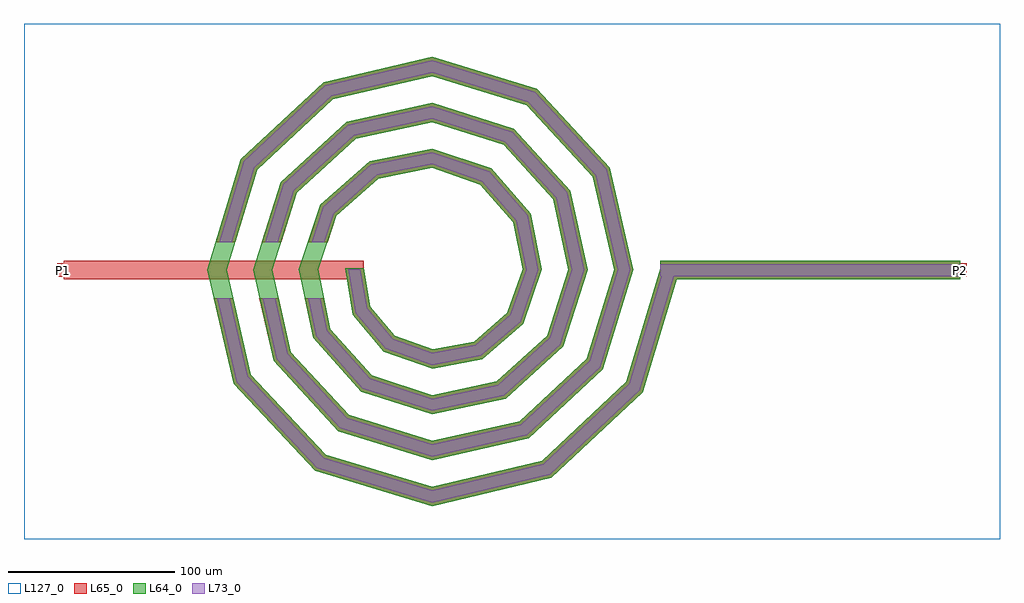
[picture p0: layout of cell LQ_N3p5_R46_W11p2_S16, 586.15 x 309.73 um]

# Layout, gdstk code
import gdstk
lib = gdstk.Library(unit=1e-6, precision=1e-09)
def R(c, l, rs):  # rectangles x0, y0, x1, y1
    for r in rs: c.add(gdstk.rectangle(r[:2], r[2:], *l))
def P(c, l, *ps):  # polygons
    for p in ps: c.add(gdstk.Polygon(p, *l))
L64_0 = (64, 0)
L65_0 = (65, 0)
L73_0 = (73, 0)
L127_0 = (127, 0)

lq_n3p5_r46_w11p2_s16 = lib.new_cell('LQ_N3p5_R46_W11p2_S16')
R(lq_n3p5_r46_w11p2_s16, L64_0, [(137.224,-5.6,317.224,5.6)])
P(lq_n3p5_r46_w11p2_s16, L64_0, [(-37.023,-21.96),(-22.248,-39.503),(0.463,-47.626),(25.343,-43.007),(45.428,-25.735),(54.501,0.411),(48.986,28.739),(29.212,51.359),(0.369,61.376),(-32.143,54.96),(-57.296,32.681),(-68.253,0.335),(-60.932,-35.554),(-36.146,-63.237),(0.306,-75.13),(38.969,-66.901),(69.18,-39.606),(82.007,0.282),(72.868,42.388),(43.064,75.125),(0.262,88.884),(-45.81,78.834),(-81.072,46.518),(-95.762,0.244),(-84.798,-49.234),(-49.971,-87.02),(0.229,-102.64),(52.66,-90.762),(92.969,-53.422),(109.517,0.215),(96.725,56.088),(56.872,98.919),(0.203,116.395),(-59.516,102.687),(-104.87,60.321),(-123.273,0.192),(-108.649,-62.946),(-63.769,-110.821),(0.182,-130.151),(66.377,-114.61),(116.773,-67.215),(137.461,1.612),(148.187,-1.612),(126.635,-73.316),(71.862,-124.827),(0.182,-141.741),(-69.885,-120.673),(-118.875,-68.414),(-134.863,0.192),(-114.711,66.454),(-64.966,112.923),(0.203,127.984),(63.025,108.748),(106.972,61.517),(121.106,0.215),(102.785,-59.596),(58.066,-101.021),(0.229,-114.227),(-56.169,-96.821),(-95.071,-54.614),(-107.348,0.244),(-90.856,52.744),(-51.16,89.122),(0.262,100.469),(49.32,84.889),(83.175,47.703),(93.59,0.282),(78.921,-45.9),(44.244,-77.229),(0.306,-86.711),(-42.482,-72.95),(-71.284,-40.781),(-79.831,0.335),(-66.977,39.068),(-37.314,65.342),(0.369,72.951),(35.66,61.001),(59.403,33.839),(66.071,0.411),(55.019,-32.258),(30.357,-53.468),(0.463,-59.189),(-28.867,-49.03),(-47.539,-26.862),(-52.046,0.96),(-41.012,0.96)])
R(lq_n3p5_r46_w11p2_s16, L65_0, [(-220.929,-5.6,-40.929,5.6), (137.224,-5.6,317.224,5.6), (-224.929,-4,-216.929,4), (313.224,-4,321.224,4)])
P(lq_n3p5_r46_w11p2_s16, L65_0, [(-108.649,-62.946),(-63.769,-110.821),(0.182,-130.151),(66.377,-114.61),(116.773,-67.215),(137.461,1.612),(148.187,-1.612),(126.635,-73.316),(71.862,-124.827),(0.182,-141.741),(-69.885,-120.673),(-118.875,-68.414),(-130.903,-16.8),(-119.403,-16.8)],
  [(-84.798,-49.234),(-49.971,-87.02),(0.229,-102.64),(52.66,-90.762),(92.969,-53.422),(109.517,0.215),(96.725,56.088),(56.872,98.919),(0.203,116.395),(-59.516,102.687),(-104.87,60.321),(-118.105,16.8),(-129.812,16.8),(-114.711,66.454),(-64.966,112.923),(0.203,127.984),(63.025,108.749),(106.972,61.517),(121.106,0.215),(102.785,-59.596),(58.066,-101.021),(0.229,-114.227),(-56.169,-96.821),(-95.071,-54.614),(-103.534,-16.8),(-92.057,-16.8)],
  [(-60.932,-35.554),(-36.146,-63.237),(0.306,-75.13),(38.969,-66.901),(69.18,-39.606),(82.007,0.282),(72.868,42.388),(43.064,75.125),(0.262,88.884),(-45.81,78.834),(-81.072,46.518),(-90.408,16.8),(-102.147,16.8),(-90.856,52.744),(-51.16,89.123),(0.262,100.469),(49.321,84.889),(83.175,47.703),(93.59,0.282),(78.921,-45.9),(44.244,-77.229),(0.306,-86.711),(-42.482,-72.95),(-71.284,-40.781),(-76.269,-16.8),(-64.83,-16.8)],
  [(-22.248,-39.503),(0.463,-47.626),(25.343,-43.007),(45.428,-25.735),(54.501,0.411),(48.986,28.739),(29.212,51.359),(0.369,61.376),(-32.143,54.96),(-57.296,32.681),(-62.567,16.8),(-74.367,16.8),(-66.977,39.068),(-37.314,65.342),(0.369,72.951),(35.66,61.001),(59.403,33.84),(66.071,0.411),(55.019,-32.258),(30.357,-53.468),(0.463,-59.189),(-28.867,-49.03),(-47.539,-26.862),(-52.046,0.96),(-41.012,0.96),(-37.023,-21.961)])
R(lq_n3p5_r46_w11p2_s16, L73_0, [(137.224,-3.6,317.224,3.6)])
P(lq_n3p5_r46_w11p2_s16, L73_0, [(-110.475,-63.923),(-64.861,-112.581),(0.117,-132.221),(67.357,-116.434),(118.534,-68.305),(139.377,1.036),(146.272,-1.036),(124.874,-72.227),(70.882,-123.002),(0.117,-139.672),(-68.793,-118.914),(-117.049,-67.438),(-128.849,-16.8),(-121.456,-16.8)],
  [(-86.633,-50.195),(-51.078,-88.77),(0.147,-104.709),(53.625,-92.594),(94.722,-54.525),(111.587,0.138),(98.555,57.057),(57.971,100.674),(0.13,118.465),(-60.49,104.515),(-106.627,61.416),(-120.196,16.8),(-127.722,16.8),(-112.954,65.359),(-63.993,111.095),(0.13,125.915),(61.926,106.993),(105.142,60.547),(119.036,0.138),(101.032,-58.494),(57.101,-99.189),(0.147,-112.158),(-55.063,-95.071),(-93.237,-53.653),(-101.484,-16.8),(-94.106,-16.8)],
  [(-62.78,-36.487),(-37.277,-64.971),(0.197,-77.198),(39.911,-68.745),(70.919,-40.73),(84.075,0.182),(74.708,43.337),(44.181,76.868),(0.168,90.953),(-46.765,80.671),(-82.819,47.63),(-92.504,16.8),(-100.051,16.8),(-89.109,51.632),(-50.204,87.285),(0.168,98.401),(48.203,83.145),(81.334,46.754),(91.522,0.182),(77.181,-44.776),(43.302,-75.384),(0.197,-84.643),(-41.35,-71.216),(-69.436,-39.848),(-74.227,-16.8),(-66.873,-16.8)],
  [(-23.43,-41.204),(0.298,-49.691),(26.239,-44.875),(47.14,-26.9),(56.567,0.264),(50.846,29.65),(30.363,53.081),(0.237,63.443),(-33.066,56.814),(-59.025,33.822),(-64.674,16.8),(-72.26,16.8),(-65.249,37.928),(-36.39,63.488),(0.237,70.884),(34.508,59.279),(57.543,32.929),(64.005,0.264),(53.306,-31.093),(29.462,-51.6),(0.298,-57.124),(-27.685,-47.329),(-45.661,-25.986),(-50.076,0.617),(-42.983,0.617),(-38.901,-22.836)])
R(lq_n3p5_r46_w11p2_s16, L127_0, [(-244.929,-161.741,341.224,147.984)])
lq_n3p5_r46_w11p2_s16.add(gdstk.Label('P2', (317.224,0), layer=65, texttype=0))
lq_n3p5_r46_w11p2_s16.add(gdstk.Label('P1', (-220.929,0), layer=65, texttype=0))
lq_n3p5_r46_w11p2_s16.add(gdstk.Label('P2', (321.224,0), layer=145, texttype=0))
lq_n3p5_r46_w11p2_s16.add(gdstk.Label('P1', (-224.929,0), layer=145, texttype=0))

lib.write_gds('LQ_N3p5_R46_W11p2_S16.gds')
